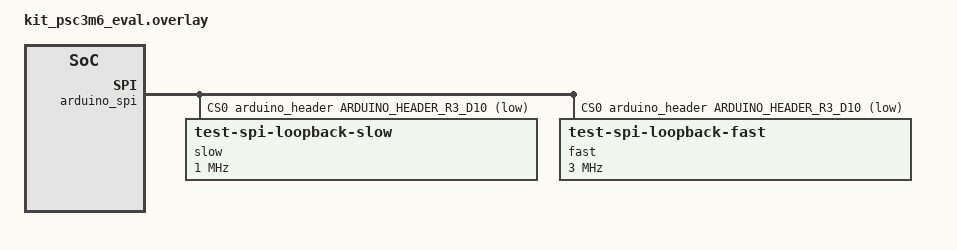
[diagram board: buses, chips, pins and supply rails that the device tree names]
/*
 * SPDX-FileCopyrightText: Copyright (c) 2026 Infineon Technologies AG,
 * SPDX-FileCopyrightText: or an affiliate of Infineon Technologies AG. All rights reserved.
 *
 * SPDX-License-Identifier: Apache-2.0
 */

&arduino_spi {
	cs-gpios = <&arduino_header ARDUINO_HEADER_R3_D10 GPIO_ACTIVE_LOW>;
	status = "okay";

	slow@0 {
		compatible = "test-spi-loopback-slow";
		reg = <0>;
		spi-max-frequency = <1000000>;
	};

	fast@0 {
		compatible = "test-spi-loopback-fast";
		reg = <0>;
		spi-max-frequency = <3000000>;
	};
};
